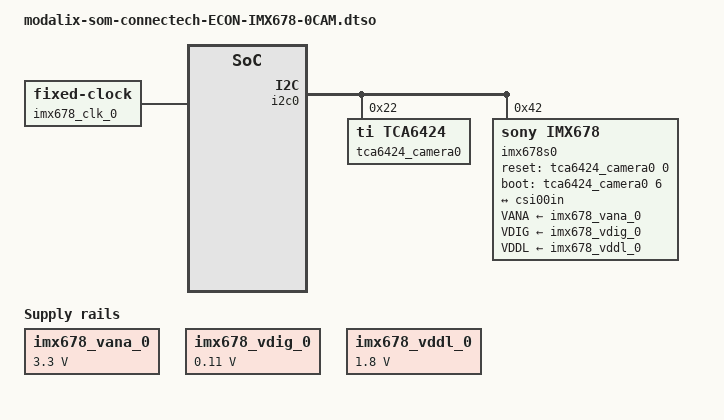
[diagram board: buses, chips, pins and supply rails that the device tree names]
// SPDX-License-Identifier: (GPL-2.0+ OR MIT)
/*
 * Copyright (c) 2026 SiMa ai
 */

/dts-v1/;
/plugin/;

#include "modalix-som-connectech-0CAM.dtsi"

&{/} {
    imx678_vana_0: csi0_fixedregulator@0 {
        compatible = "regulator-fixed";
        regulator-name = "imx678_vana_0";
        regulator-min-microvolt = <3300000>;
        regulator-max-microvolt = <3300000>;
        enable-active-high;
        startup-delay-us = <300000>;
        regulator-always-on;
    };

    imx678_vdig_0: csi0_fixedregulator@1 {
        compatible = "regulator-fixed";
        regulator-name = "imx678_vdig_0";
        regulator-min-microvolt = <110000>;
        regulator-max-microvolt = <110000>;
        regulator-always-on;
    };

    imx678_vddl_0: csi0_fixedregulator@2 {
        compatible = "regulator-fixed";
        regulator-name = "imx678_vddl_0";
        regulator-min-microvolt = <1800000>;
        regulator-max-microvolt = <1800000>;
        regulator-always-on;
    };

    imx678_clk_0: csi0_camera-clk {
        compatible = "fixed-clock";
        #clock-cells = <0>;
        clock-frequency = <37125000>;
    };
};

&csi00in {
    clock-lanes = <0>;
    data-lanes = <1 2>;
    link-frequencies = /bits/ 64 <1040000000>;
    remote-endpoint = <&cam00out>;
    clock-continuous;
};

&i2c0 {
    tca6424_camera0: tca6424@22 {
        compatible = "ti,tca6424";
        gpio-controller;
        #gpio-cells = <2>;
        reg = <0x22>;
        status = "okay";
    };

    imx678s0: imx678@42 {
        compatible = "sony,imx678";
        reg = <0x42>;

        clocks = <&imx678_clk_0>;
        clock-names = "xclk";

        VANA-supply = <&imx678_vana_0>;
        VDIG-supply = <&imx678_vdig_0>;
        VDDL-supply = <&imx678_vddl_0>;

        reset-gpios = <&tca6424_camera0 0 0>;
        boot-gpios = <&tca6424_camera0 6 0>;

        camera_mipi_lanes = <2>;
        cam_fw_name = "imx678_cam_fw.bin";

        port@1 {
            cam00out: endpoint@0 {
                clock-lanes = <0>;
                data-lanes = <1 2>;
                link-frequencies = /bits/ 64 <1040000000>;
                remote-endpoint = <&csi00in>;
                clock-continuous;
            };
        };
    };
};
